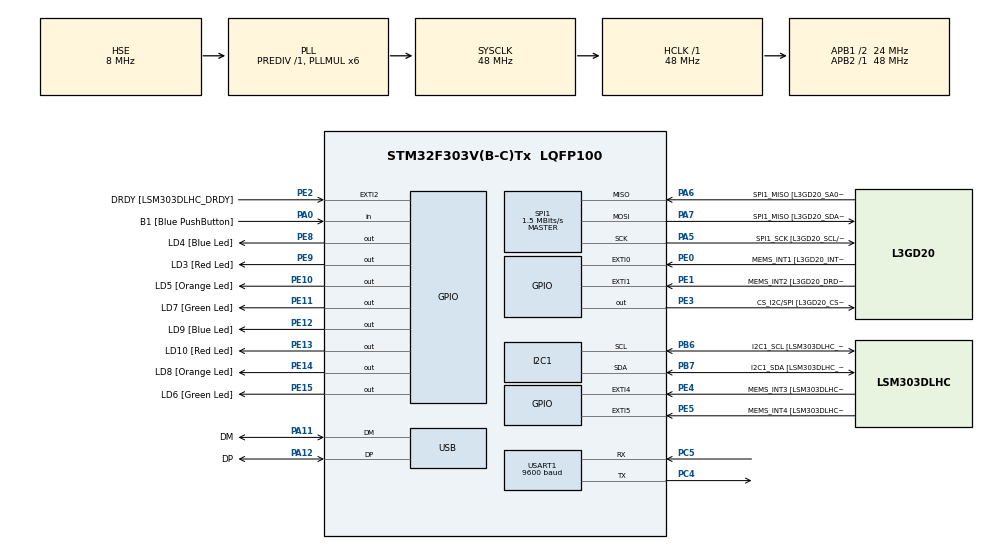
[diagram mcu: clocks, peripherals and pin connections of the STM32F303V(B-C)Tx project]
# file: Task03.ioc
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I2C1.Timing=0x2000090E
I2C1.Timing-I2C=0x2000090E
Mcu.Family=STM32F3
Mcu.Name=STM32F303V(B-C)Tx
Mcu.Package=LQFP100
NVIC.PriorityGroup=NVIC_PRIORITYGROUP_0
NVIC.USB_LP_CAN_RX0_IRQn=true\:0\:0\:false\:false\:true\:false\:true\:true
PA0.GPIO_Label=B1 [Blue PushButton]
PA0.Signal=GPIO_Input
PA11.GPIO_Label=DM
PA11.Mode=Device
PA11.Signal=USB_DM
PA12.GPIO_Label=DP
PA12.Mode=Device
PA12.Signal=USB_DP
PA13.GPIO_Label=SWDIO
PA13.Mode=Serial_Wire
PA13.Signal=SYS_JTMS-SWDIO
PA14.GPIO_Label=SWCLK
PA14.Mode=Serial_Wire
PA14.Signal=SYS_JTCK-SWCLK
PA5.GPIO_Label=SPI1_SCK [L3GD20_SCL/SPC]
PA5.Mode=Full_Duplex_Master
PA5.Signal=SPI1_SCK
PA6.GPIO_Label=SPI1_MISO [L3GD20_SA0/SDO]
PA6.Mode=Full_Duplex_Master
PA6.Signal=SPI1_MISO
PA7.GPIO_Label=SPI1_MISO [L3GD20_SDA/SDI/SDO]
PA7.Mode=Full_Duplex_Master
PA7.Signal=SPI1_MOSI
PB3.GPIO_Label=SWO
PB3.Signal=SYS_JTDO-TRACESWO
PB6.GPIO_Label=I2C1_SCL [LSM303DLHC_SCL]
PB6.GPIO_Pu=GPIO_PULLUP
PB6.Mode=I2C
PB6.Signal=I2C1_SCL
PB7.GPIO_Label=I2C1_SDA [LSM303DLHC_SDA]
PB7.GPIO_Pu=GPIO_PULLUP
PB7.Mode=I2C
PB7.Signal=I2C1_SDA
PC14-OSC32_IN.GPIO_Label=OSC32_IN
PC14-OSC32_IN.Signal=RCC_OSC32_IN
PC15-OSC32_OUT.GPIO_Label=OSC32_OUT
PC15-OSC32_OUT.Signal=RCC_OSC32_OUT
PC4.Mode=Asynchronous
PC4.Signal=USART1_TX
PC5.Mode=Asynchronous
PC5.Signal=USART1_RX
PE0.GPIO_Label=MEMS_INT1 [L3GD20_INT1]
PE0.GPIO_ModeDefaultEXTI=GPIO_MODE_EVT_RISING
PE0.Signal=GPXTI0
PE1.GPIO_Label=MEMS_INT2 [L3GD20_DRDY/INT2]
PE1.GPIO_ModeDefaultEXTI=GPIO_MODE_EVT_RISING
PE1.Signal=GPXTI1
PE10.GPIO_Label=LD5 [Orange Led]
PE10.Signal=GPIO_Output
PE11.GPIO_Label=LD7 [Green Led]
PE11.Signal=GPIO_Output
PE12.GPIO_Label=LD9 [Blue Led]
PE12.Signal=GPIO_Output
PE13.GPIO_Label=LD10 [Red Led]
PE13.Signal=GPIO_Output
PE14.GPIO_Label=LD8 [Orange Led]
PE14.Signal=GPIO_Output
PE15.GPIO_Label=LD6 [Green Led]
PE15.Signal=GPIO_Output
PE2.GPIO_Label=DRDY [LSM303DLHC_DRDY]
PE2.GPIO_ModeDefaultEXTI=GPIO_MODE_EVT_RISING
PE2.Signal=GPXTI2
PE3.GPIO_Label=CS_I2C/SPI [L3GD20_CS_I2C/SPI]
PE3.Signal=GPIO_Output
PE4.GPIO_Label=MEMS_INT3 [LSM303DLHC_INT1]
PE4.GPIO_ModeDefaultEXTI=GPIO_MODE_EVT_RISING
PE4.Signal=GPXTI4
PE5.GPIO_Label=MEMS_INT4 [LSM303DLHC_INT2]
PE5.GPIO_ModeDefaultEXTI=GPIO_MODE_EVT_RISING
PE5.Signal=GPXTI5
PE8.GPIO_Label=LD4 [Blue Led]
PE8.Signal=GPIO_Output
PE9.GPIO_Label=LD3 [Red Led]
PE9.Signal=GPIO_Output
PF0-OSC_IN.GPIO_Label=OSC_IN
PF0-OSC_IN.Mode=HSE-External-Clock-Source
PF0-OSC_IN.Signal=RCC_OSC_IN
PF1-OSC_OUT.GPIO_Label=OSC_OUT
PF1-OSC_OUT.Signal=RCC_OSC_OUT
ProjectManager.HeapSize=0x200
ProjectManager.StackSize=0x400
ProjectManager.TargetToolchain=CMake
RCC.AHBFreq_Value=48000000
RCC.APB1CLKDivider=RCC_HCLK_DIV2
RCC.APB1Freq_Value=24000000
RCC.APB1TimFreq_Value=48000000
RCC.APB2Freq_Value=48000000
RCC.APB2TimFreq_Value=48000000
RCC.CortexFreq_Value=48000000
RCC.HCLKFreq_Value=48000000
RCC.HSE_VALUE=8000000
RCC.HSI_VALUE=8000000
RCC.LSE_VALUE=32768
RCC.PLLMUL=RCC_PLL_MUL6
RCC.SYSCLKFreq_VALUE=48000000
RCC.SYSCLKSourceVirtual=RCC_SYSCLKSOURCE_PLLCLK
RCC.USBFreq_Value=48000000
SPI1.BaudRatePrescaler=SPI_BAUDRATEPRESCALER_32
SPI1.BaudRatePrescaler-Full_Duplex_Master=SPI_BAUDRATEPRESCALER_2
SPI1.CLKPhase=SPI_PHASE_2EDGE
SPI1.CLKPolarity=SPI_POLARITY_HIGH
SPI1.CalculateBaudRate=1.5 MBits/s
SPI1.CalculateBaudRate-Full_Duplex_Master=24.0 MBits/s
SPI1.DataSize=SPI_DATASIZE_8BIT
SPI1.Direction=SPI_DIRECTION_2LINES
SPI1.Mode=SPI_MODE_MASTER
SPI1.Mode-Full_Duplex_Master=SPI_MODE_MASTER
SPI1.VirtualType=VM_MASTER
STMicroelectronics.X-CUBE-ALGOBUILD.1.4.0.LibraryCcDSPOoLibraryJjDSPOoLibrary=true
USART1.BaudRate=9600
USART1.VirtualMode-Asynchronous=VM_ASYNC
USB_DEVICE.CLASS_NAME_FS=CDC
USB_DEVICE.VirtualMode=Cdc
USB_DEVICE.VirtualModeFS=Cdc_FS
VP_STMicroelectronics.X-CUBE-ALGOBUILD_VS_DSPOoLibraryJjLibrary_1.4.0_1.4.0.Mode=DSPOoLibraryJjLibrary
VP_USB_DEVICE_VS_USB_DEVICE_CDC_FS.Mode=CDC_FS
board=STM32F3DISCOVERY

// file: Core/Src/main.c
/* USER CODE BEGIN Header */
/**
  ******************************************************************************
  * @file           : main.c
  * @brief          : Main program body
  ******************************************************************************
  * @attention
  *
  * Copyright (c) 2025 STMicroelectronics.
  * All rights reserved.
  *
  * This software is licensed under terms that can be found in the LICENSE file
  * in the root directory of this software component.
  * If no LICENSE file comes with this software, it is provided AS-IS.
  *
  ******************************************************************************
  */
/* USER CODE END Header */
#include "main.h"
#include "usb_device.h"

/* USER CODE BEGIN Includes */

#include "string.h"
#include "stdio.h"
#include "arm_math.h"  // For CMSIS DSP (used for moving average filter)

/* USER CODE END Includes */

/* USER CODE BEGIN PM */

#define CTRL_REG1 0x20             // Gyroscope control register 1 address
#define CTRL_REG1_VAL 0b00011111   // Enables: Power, X/Y/Z axes, and sets Output Data Rate (ODR)

#define CTRL_REG4  0x23
#define CTRL_REG4_VAL  0b00000000  // Full-scale = ±245 dps

#define FILTER_LEN 10              // Number of samples for moving average filter

/* USER CODE END PM */

I2C_HandleTypeDef hi2c1;

SPI_HandleTypeDef hspi1;

UART_HandleTypeDef huart1;

/* USER CODE BEGIN PV */

// Buffers to hold last 10 readings for each axis (used for filtering)
float x_buf[FILTER_LEN] = {0};
float y_buf[FILTER_LEN] = {0};
float z_buf[FILTER_LEN] = {0};

uint8_t filter_index = 0;           // Tracks position in circular buffer

/* USER CODE END PV */

void SystemClock_Config(void);
static void MX_GPIO_Init(void);
static void MX_I2C1_Init(void);
static void MX_SPI1_Init(void);
static void MX_USART1_UART_Init(void);

/* USER CODE BEGIN 0 */

void gyro_init()
{
    uint8_t tx[2] = { 0x20, 0b00011111 }; // Write CTRL_REG1 = 0x1F

    HAL_GPIO_WritePin(GPIOE, GPIO_PIN_3, GPIO_PIN_RESET); // CS low (start communication)
    HAL_SPI_Transmit(&hspi1, tx, 2, HAL_MAX_DELAY);       // Send address + value
    HAL_GPIO_WritePin(GPIOE, GPIO_PIN_3, GPIO_PIN_SET);   // CS high (end communication)
}

uint8_t gyro_read_register(uint8_t reg)
{
    uint8_t tx = 0x80 | reg; // Set MSB to indicate read operation
    uint8_t rx = 0;

    HAL_GPIO_WritePin(GPIOE, GPIO_PIN_3, GPIO_PIN_RESET); // CS low
    HAL_SPI_Transmit(&hspi1, &tx, 1, HAL_MAX_DELAY);       // Send register address
    HAL_SPI_Receive(&hspi1, &rx, 1, HAL_MAX_DELAY);        // Receive data byte
    HAL_GPIO_WritePin(GPIOE, GPIO_PIN_3, GPIO_PIN_SET);   // CS high

    return rx; // Return the value read from the register
}

/* USER CODE END 0 */

int main(void)
{

  /* MCU Configuration--------------------------------------------------------*/

  /* Reset of all peripherals, Initializes the Flash interface and the Systick. */
  HAL_Init();

  /* Configure the system clock */
  SystemClock_Config();

  /* Initialize all configured peripherals */
  MX_GPIO_Init();
  MX_I2C1_Init();
  MX_SPI1_Init();
  MX_USART1_UART_Init();
  MX_USB_DEVICE_Init();
  /* USER CODE BEGIN 2 */

  gyro_init();       // Initialize gyro (enable power and axes)
  HAL_Delay(500);    // Delay to allow sensor to stabilize

  int16_t x_raw, y_raw, z_raw;  // Raw 16-bit data from gyro
  int8_t temp;                  // Raw 8-bit temperature

  float x_filtered, y_filtered, z_filtered;  // Filtered (averaged) values

  while (1)
  {
      // === Step 1: Read Sensor Registers ===

      temp = (int8_t)gyro_read_register(0x26);  // Read temperature register (signed 8-bit)

      // Read low and high bytes for each axis
      uint8_t x_l = gyro_read_register(0x28);
      uint8_t x_h = gyro_read_register(0x29);
      uint8_t y_l = gyro_read_register(0x2A);
      uint8_t y_h = gyro_read_register(0x2B);
      uint8_t z_l = gyro_read_register(0x2C);
      uint8_t z_h = gyro_read_register(0x2D);

      // Combine low and high bytes into 16-bit signed integers
      x_raw = (int16_t)(x_h << 8 | x_l);
      y_raw = (int16_t)(y_h << 8 | y_l);
      z_raw = (int16_t)(z_h << 8 | z_l);

      // === Step 2: Store in Moving Average Buffers ===

      x_buf[filter_index] = (float)x_raw;
      y_buf[filter_index] = (float)y_raw;
      z_buf[filter_index] = (float)z_raw;

      // Advance buffer index (circular)
      filter_index = (filter_index + 1) % FILTER_LEN;

      // === Step 3: Apply Moving Average Filter ===
      arm_mean_f32(x_buf, FILTER_LEN, &x_filtered);  // Compute mean of x_buf
      arm_mean_f32(y_buf, FILTER_LEN, &y_filtered);  // Compute mean of y_buf
      arm_mean_f32(z_buf, FILTER_LEN, &z_filtered);  // Compute mean of z_buf

      // === Step 4: Convert to dps (°/s) using sensitivity scale ===
      // According to L3GD20 datasheet, ±245 dps mode → 8.75 mdps/digit = 0.00875 dps/digit
      int16_t x_print = (int16_t)(x_filtered * 0.00875f);
      int16_t y_print = (int16_t)(y_filtered * 0.00875f);
      int16_t z_print = (int16_t)(z_filtered * 0.00875f);

      // === Step 5: Print Filtered Data over UART ===

      char msg[128];
      sprintf(msg, "%d, %d, %d, %d\r\n", temp, x_print, y_print, z_print);  // Format output
      HAL_UART_Transmit(&huart1, (uint8_t*)msg, strlen(msg), HAL_MAX_DELAY); // Send via UART

      HAL_Delay(100);  // Wait 100ms before next read
  }

  /* USER CODE END 3 */
}

void SystemClock_Config(void)
{
  RCC_OscInitTypeDef RCC_OscInitStruct = {0};
  RCC_ClkInitTypeDef RCC_ClkInitStruct = {0};
  RCC_PeriphCLKInitTypeDef PeriphClkInit = {0};

  /** Initializes the RCC Oscillators according to the specified parameters
  * in the RCC_OscInitTypeDef structure.
  */
  RCC_OscInitStruct.OscillatorType = RCC_OSCILLATORTYPE_HSI|RCC_OSCILLATORTYPE_HSE;
  RCC_OscInitStruct.HSEState = RCC_HSE_BYPASS;
  RCC_OscInitStruct.HSEPredivValue = RCC_HSE_PREDIV_DIV1;
  RCC_OscInitStruct.HSIState = RCC_HSI_ON;
  RCC_OscInitStruct.HSICalibrationValue = RCC_HSICALIBRATION_DEFAULT;
  RCC_OscInitStruct.PLL.PLLState = RCC_PLL_ON;
  RCC_OscInitStruct.PLL.PLLSource = RCC_PLLSOURCE_HSE;
  RCC_OscInitStruct.PLL.PLLMUL = RCC_PLL_MUL6;
  if (HAL_RCC_OscConfig(&RCC_OscInitStruct) != HAL_OK)
  {
    Error_Handler();
  }

  /** Initializes the CPU, AHB and APB buses clocks
  */
  RCC_ClkInitStruct.ClockType = RCC_CLOCKTYPE_HCLK|RCC_CLOCKTYPE_SYSCLK
                              |RCC_CLOCKTYPE_PCLK1|RCC_CLOCKTYPE_PCLK2;
  RCC_ClkInitStruct.SYSCLKSource = RCC_SYSCLKSOURCE_PLLCLK;
  RCC_ClkInitStruct.AHBCLKDivider = RCC_SYSCLK_DIV1;
  RCC_ClkInitStruct.APB1CLKDivider = RCC_HCLK_DIV2;
  RCC_ClkInitStruct.APB2CLKDivider = RCC_HCLK_DIV1;

  if (HAL_RCC_ClockConfig(&RCC_ClkInitStruct, FLASH_LATENCY_1) != HAL_OK)
  {
    Error_Handler();
  }
  PeriphClkInit.PeriphClockSelection = RCC_PERIPHCLK_USB|RCC_PERIPHCLK_USART1
                              |RCC_PERIPHCLK_I2C1;
  PeriphClkInit.Usart1ClockSelection = RCC_USART1CLKSOURCE_PCLK2;
  PeriphClkInit.I2c1ClockSelection = RCC_I2C1CLKSOURCE_HSI;
  PeriphClkInit.USBClockSelection = RCC_USBCLKSOURCE_PLL;
  if (HAL_RCCEx_PeriphCLKConfig(&PeriphClkInit) != HAL_OK)
  {
    Error_Handler();
  }
}

static void MX_I2C1_Init(void)
{

  hi2c1.Instance = I2C1;
  hi2c1.Init.Timing = 0x2000090E;
  hi2c1.Init.OwnAddress1 = 0;
  hi2c1.Init.AddressingMode = I2C_ADDRESSINGMODE_7BIT;
  hi2c1.Init.DualAddressMode = I2C_DUALADDRESS_DISABLE;
  hi2c1.Init.OwnAddress2 = 0;
  hi2c1.Init.OwnAddress2Masks = I2C_OA2_NOMASK;
  hi2c1.Init.GeneralCallMode = I2C_GENERALCALL_DISABLE;
  hi2c1.Init.NoStretchMode = I2C_NOSTRETCH_DISABLE;
  if (HAL_I2C_Init(&hi2c1) != HAL_OK)
  {
    Error_Handler();
  }

  /** Configure Analogue filter
  */
  if (HAL_I2CEx_ConfigAnalogFilter(&hi2c1, I2C_ANALOGFILTER_ENABLE) != HAL_OK)
  {
    Error_Handler();
  }

  /** Configure Digital filter
  */
  if (HAL_I2CEx_ConfigDigitalFilter(&hi2c1, 0) != HAL_OK)
  {
    Error_Handler();
  }

}

static void MX_SPI1_Init(void)
{

  /* SPI1 parameter configuration*/
  hspi1.Instance = SPI1;
  hspi1.Init.Mode = SPI_MODE_MASTER;
  hspi1.Init.Direction = SPI_DIRECTION_2LINES;
  hspi1.Init.DataSize = SPI_DATASIZE_8BIT;
  hspi1.Init.CLKPolarity = SPI_POLARITY_HIGH;
  hspi1.Init.CLKPhase = SPI_PHASE_2EDGE;
  hspi1.Init.NSS = SPI_NSS_SOFT;
  hspi1.Init.BaudRatePrescaler = SPI_BAUDRATEPRESCALER_32;
  hspi1.Init.FirstBit = SPI_FIRSTBIT_MSB;
  hspi1.Init.TIMode = SPI_TIMODE_DISABLE;
  hspi1.Init.CRCCalculation = SPI_CRCCALCULATION_DISABLE;
  hspi1.Init.CRCPolynomial = 7;
  hspi1.Init.CRCLength = SPI_CRC_LENGTH_DATASIZE;
  hspi1.Init.NSSPMode = SPI_NSS_PULSE_DISABLE;
  if (HAL_SPI_Init(&hspi1) != HAL_OK)
  {
    Error_Handler();
  }

}

static void MX_USART1_UART_Init(void)
{

  huart1.Instance = USART1;
  huart1.Init.BaudRate = 9600;
  huart1.Init.WordLength = UART_WORDLENGTH_8B;
  huart1.Init.StopBits = UART_STOPBITS_1;
  huart1.Init.Parity = UART_PARITY_NONE;
  huart1.Init.Mode = UART_MODE_TX_RX;
  huart1.Init.HwFlowCtl = UART_HWCONTROL_NONE;
  huart1.Init.OverSampling = UART_OVERSAMPLING_16;
  huart1.Init.OneBitSampling = UART_ONE_BIT_SAMPLE_DISABLE;
  huart1.AdvancedInit.AdvFeatureInit = UART_ADVFEATURE_NO_INIT;
  if (HAL_UART_Init(&huart1) != HAL_OK)
  {
    Error_Handler();
  }

}

static void MX_GPIO_Init(void)
{
  GPIO_InitTypeDef GPIO_InitStruct = {0};

  /* GPIO Ports Clock Enable */
  __HAL_RCC_GPIOE_CLK_ENABLE();
  __HAL_RCC_GPIOC_CLK_ENABLE();
  __HAL_RCC_GPIOF_CLK_ENABLE();
  __HAL_RCC_GPIOA_CLK_ENABLE();
  __HAL_RCC_GPIOB_CLK_ENABLE();

  /*Configure GPIO pin Output Level */
  HAL_GPIO_WritePin(GPIOE, CS_I2C_SPI_Pin|LD4_Pin|LD3_Pin|LD5_Pin
                          |LD7_Pin|LD9_Pin|LD10_Pin|LD8_Pin
                          |LD6_Pin, GPIO_PIN_RESET);

  /*Configure GPIO pins : DRDY_Pin MEMS_INT3_Pin MEMS_INT4_Pin MEMS_INT1_Pin
                           MEMS_INT2_Pin */
  GPIO_InitStruct.Pin = DRDY_Pin|MEMS_INT3_Pin|MEMS_INT4_Pin|MEMS_INT1_Pin
                          |MEMS_INT2_Pin;
  GPIO_InitStruct.Mode = GPIO_MODE_EVT_RISING;
  GPIO_InitStruct.Pull = GPIO_NOPULL;
  HAL_GPIO_Init(GPIOE, &GPIO_InitStruct);

  /*Configure GPIO pins : CS_I2C_SPI_Pin LD4_Pin LD3_Pin LD5_Pin
                           LD7_Pin LD9_Pin LD10_Pin LD8_Pin
                           LD6_Pin */
  GPIO_InitStruct.Pin = CS_I2C_SPI_Pin|LD4_Pin|LD3_Pin|LD5_Pin
                          |LD7_Pin|LD9_Pin|LD10_Pin|LD8_Pin
                          |LD6_Pin;
  GPIO_InitStruct.Mode = GPIO_MODE_OUTPUT_PP;
  GPIO_InitStruct.Pull = GPIO_NOPULL;
  GPIO_InitStruct.Speed = GPIO_SPEED_FREQ_LOW;
  HAL_GPIO_Init(GPIOE, &GPIO_InitStruct);

  /*Configure GPIO pin : B1_Pin */
  GPIO_InitStruct.Pin = B1_Pin;
  GPIO_InitStruct.Mode = GPIO_MODE_INPUT;
  GPIO_InitStruct.Pull = GPIO_NOPULL;
  HAL_GPIO_Init(B1_GPIO_Port, &GPIO_InitStruct);

}

void Error_Handler(void)
{
  __disable_irq();
  while (1)
  {
  }
}
